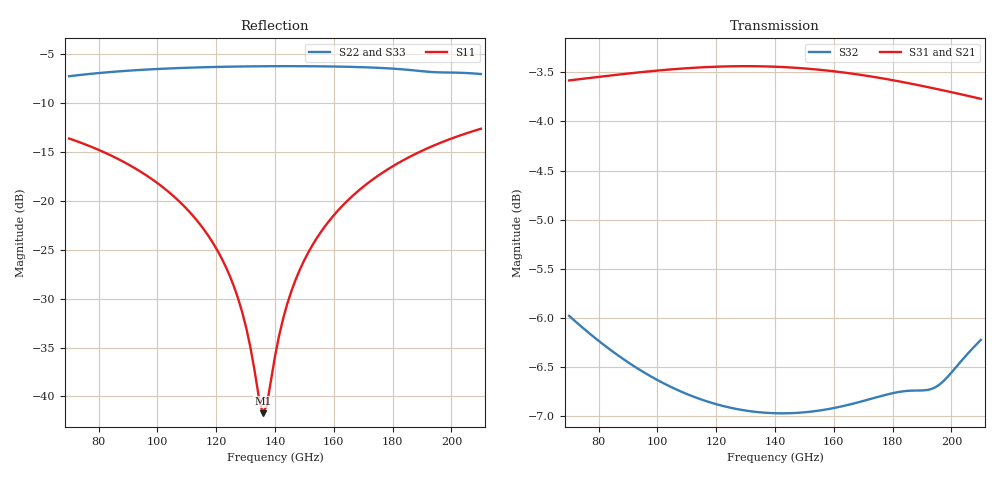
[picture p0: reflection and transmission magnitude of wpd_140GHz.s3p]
#  GHZ S DB R 50
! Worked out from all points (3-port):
!   101 points, 70 GHz to 210 GHz, reference 50 ohm
!   strongest paths, dB at 70 GHz, 105 GHz, 140 GHz, 175 GHz, 210 GHz:
!     S31: -3.6, -3.5, -3.4, -3.6, -3.8
!     S21: -3.6, -3.5, -3.5, -3.6, -3.8
!     S32: -6.0, -6.7, -7.0, -6.8, -6.2
!   lowest |S11| = -41.7 dB at 135.8 GHz (marker M1), VSWR 1.02, Z = 50.8 + j0.111 ohm
!   |S11| at or under -10 dB: start of sweep to end of sweep
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70  -13.61 131.8  -3.59 -44.4  -3.58 -44.4
    -3.59 -44.4  -7.23 49.7  -5.98 -97.9
    -3.58 -44.4  -5.98 -97.9  -7.26 49.7
96.6  -17.45 112.9  -3.50 -61.8  -3.49 -61.8
      -3.50 -61.8  -6.55 25.9  -6.57 -129.7
      -3.49 -61.8  -6.57 -129.7  -6.58 25.9
116.2  -23.07 96.5  -3.46 -74.9  -3.45 -74.9
       -3.46 -74.9  -6.31 11.3  -6.84 -152.3
       -3.45 -74.9  -6.84 -152.3  -6.34 11.3
127.4  -29.93 80.8  -3.45 -82.5  -3.44 -82.5
       -3.45 -82.5  -6.24 3.6  -6.93 -165.1
       -3.44 -82.5  -6.93 -165.1  -6.27 3.6
135.8  -41.73 7.6  -3.45 -88.2  -3.44 -88.2
       -3.45 -88.2  -6.21 -2.0  -6.96 -174.7
       -3.44 -88.2  -6.96 -174.7  -6.24 -2.0
140  -35.91 -62.6  -3.46 -91.0  -3.44 -91.0
     -3.46 -91.0  -6.21 -4.8  -6.97 -179.5
     -3.44 -91.0  -6.97 -179.5  -6.24 -4.8
148.4  -27.06 -88.2  -3.47 -96.7  -3.46 -96.7
       -3.47 -96.7  -6.21 -10.3  -6.96 170.9
       -3.46 -96.7  -6.96 170.9  -6.24 -10.4
161  -21.12 -102.0  -3.51 -105.3  -3.49 -105.3
     -3.51 -105.3  -6.25 -18.8  -6.91 156.3
     -3.49 -105.3  -6.91 156.3  -6.27 -18.9
182  -16.10 -118.4  -3.60 -119.4  -3.59 -119.4
     -3.60 -119.4  -6.50 -34.0  -6.75 131.5
     -3.59 -119.4  -6.75 131.5  -6.52 -34.1
210  -12.61 -137.7  -3.78 -137.8  -3.77 -137.8
     -3.78 -137.8  -7.01 -56.1  -6.22 99.2
     -3.77 -137.8  -6.22 99.2  -7.02 -56.1
